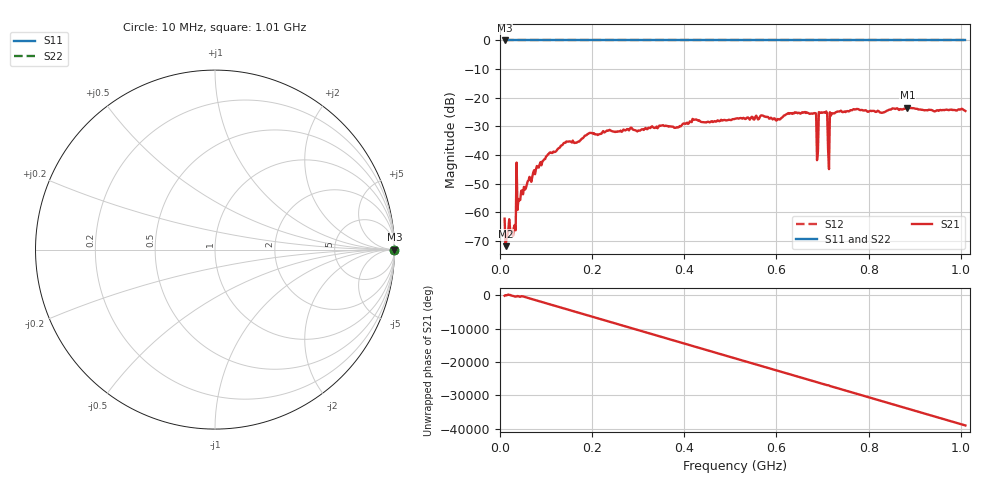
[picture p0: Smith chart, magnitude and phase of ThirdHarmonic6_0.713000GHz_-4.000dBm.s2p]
! 8/15/2025 11:49:35 PM
! C:\ANRITSUVNA\TEMP\TEMP.S2P
! CHANNEL.1
! TR.MEASUREMENT
! RAW.DATA
! RF.CORRECTION.OFF
! AVERAGING.OFF
! IF.BANDWIDTH: 5KHZ
! SWEEPTYPE:  FREQ.SWEEP(Linear)
! Reference Plane Port Info
! PORT:  PORT1  PORT2
! DISTANCE:  0  m  0  m
! TIME:  0  s  0  s
! PHASE.OFFSET:  0  deg.  0  deg.
! LOSS:  0  dB  0  dB
! REF.LOSS:  0  dB  0  dB
! REF.FREQ:  0  Hz  0  Hz
! Power Info
! POWER:  -20  dBm  -20  dBm
! EFF.POWER:  -20  dBm  -20  dBm
! SOURCE.ATTEN:  0  dB  0  dB
! TEST.ATTEN:  0  dB  0  dB
# GHZ S RI R 50.0
! FREQ.GHZ  S11RE  S11IM  S21RE  S21IM  S12RE  S12IM  S22RE  S22IM
!; PortSelection: Port_12
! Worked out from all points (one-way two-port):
!   501 points, 10 MHz to 1.01 GHz, reference 50 ohm
!   highest |S21| = -23.47 dB at 884 MHz (marker M1); lowest = -71.8 dB at 12 MHz (marker M2)
!   lowest |S11| = 0.0 dB at 10 MHz (marker M3)
!   |S11| at or under -10 dB: nowhere
!   |S22| runs from 0.0 to 0.0 dB; largest |S21 - S12| = 1.1
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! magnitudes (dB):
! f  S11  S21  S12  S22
! 10 MHz  0.0  -62.2  0.0  0.0
! 12 MHz  0.0  -71.8  0.0  0.0
! 30 MHz  0.0  -65.3  0.0  0.0
! 32 MHz  0.0  -64.4  0.0  0.0
! 40 MHz  0.0  -55.5  0.0  0.0
! 42 MHz  0.0  -55.8  0.0  0.0
! 84 MHz  0.0  -44.3  0.0  0.0
! 178 MHz  0.0  -34.2  0.0  0.0
! 344 MHz  0.0  -30.1  0.0  0.0
! 510 MHz  0.0  -27.3  0.0  0.0
! 678 MHz  0.0  -25.6  0.0  0.0
! 682 MHz  0.0  -25.3  0.0  0.0
! 686 MHz  0.0  -25.5  0.0  0.0
! 692 MHz  0.0  -25.0  0.0  0.0
! 696 MHz  0.0  -25.3  0.0  0.0
! 706 MHz  0.0  -25.3  0.0  0.0
! 710 MHz  0.0  -25.4  0.0  0.0
! 716 MHz  0.0  -25.0  0.0  0.0
! 720 MHz  0.0  -25.4  0.0  0.0
! 844 MHz  0.0  -24.2  0.0  0.0
! 884 MHz  0.0  -23.5  0.0  0.0
! 1.01 GHz  0.0  -24.6  0.0  0.0
